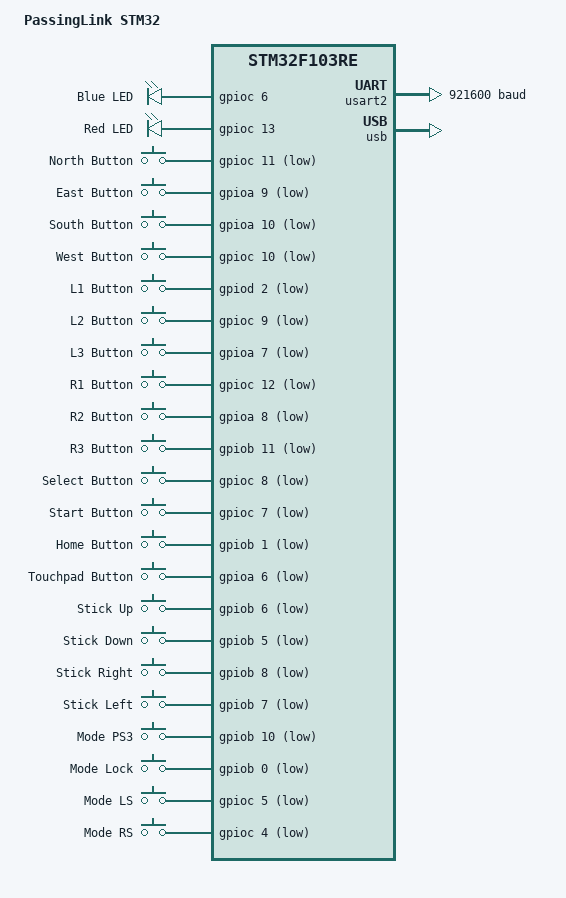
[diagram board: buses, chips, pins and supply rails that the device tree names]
/dts-v1/;
#include <st/f1/stm32f103Xe.dtsi>

/ {
  model = "PassingLink STM32";
  compatible = "st,stm32f103re";

  chosen {
    zephyr,console = &usart2;
    zephyr,shell-uart = &usart2;
    zephyr,sram = &sram0;
    zephyr,flash = &flash0;
  };

  leds {
     // TODO(directxman12): a bit unclear about these -- I *think* c6 is right,
     // not sure about c13
     compatible = "gpio-leds";
     status_blue: led_1 {
       gpios = <&gpioc 6 0>;
       label = "Blue LED";
     };

     status_red: led_2 {
       gpios = <&gpioc 13 0>;
       label = "Red LED";
     };
  };

  // NB(directxman12): these are for the passing link stm32 custom pcb @ a very
  // early revision.  The pin layouts basically only exist in
  // jmgao/passinglink's main.rs (the commit before v0.4) as well as kinda on
  // easyeda.com/jmgao/passinglink, which has the right pins AFAICT (unclear on
  // LEDs), but the layout is a teensy bit different.
  gpio_keys {
    compatible = "gpio-keys";
    button_north {
      gpios = <&gpioc 11 (GPIO_PULL_UP | GPIO_ACTIVE_LOW)>;
      label = "North Button";
    };

    button_east {
      gpios = <&gpioa 9 (GPIO_PULL_UP | GPIO_ACTIVE_LOW)>;
      label = "East Button";
    };

    button_south {
      gpios = <&gpioa 10 (GPIO_PULL_UP | GPIO_ACTIVE_LOW)>;
      label = "South Button";
    };

    button_west {
      gpios = <&gpioc 10 (GPIO_PULL_UP | GPIO_ACTIVE_LOW)>;
      label = "West Button";
    };

    button_l1 {
      gpios = <&gpiod 2 (GPIO_PULL_UP | GPIO_ACTIVE_LOW)>;
      label = "L1 Button";
    };

    button_l2 {
      gpios = <&gpioc 9 (GPIO_PULL_UP | GPIO_ACTIVE_LOW)>;
      label = "L2 Button";
    };

    button_l3 {
      gpios = <&gpioa 7 (GPIO_PULL_UP | GPIO_ACTIVE_LOW)>;
      label = "L3 Button";
    };

    button_r1 {
      gpios = <&gpioc 12 (GPIO_PULL_UP | GPIO_ACTIVE_LOW)>;
      label = "R1 Button";
    };

    button_r2 {
      gpios = <&gpioa 8 (GPIO_PULL_UP | GPIO_ACTIVE_LOW)>;
      label = "R2 Button";
    };

    button_r3 {
      gpios = <&gpiob 11 (GPIO_PULL_UP | GPIO_ACTIVE_LOW)>;
      label = "R3 Button";
    };

    button_select {
      gpios = <&gpioc 8 (GPIO_PULL_UP | GPIO_ACTIVE_LOW)>;
      label = "Select Button";
    };

    button_start {
      gpios = <&gpioc 7 (GPIO_PULL_UP | GPIO_ACTIVE_LOW)>;
      label = "Start Button";
    };

    button_home {
      gpios = <&gpiob 1 (GPIO_PULL_UP | GPIO_ACTIVE_LOW)>;
      label = "Home Button";
    };

    button_touchpad {
      gpios = <&gpioa 6 (GPIO_PULL_UP | GPIO_ACTIVE_LOW)>;
      label = "Touchpad Button";
    };

    stick_up {
      gpios = <&gpiob 6 (GPIO_PULL_UP | GPIO_ACTIVE_LOW)>;
      label = "Stick Up";
    };

    stick_down {
      gpios = <&gpiob 5 (GPIO_PULL_UP | GPIO_ACTIVE_LOW)>;
      label = "Stick Down";
    };

    stick_right {
      gpios = <&gpiob 8 (GPIO_PULL_UP | GPIO_ACTIVE_LOW)>;
      label = "Stick Right";
    };

    stick_left {
      gpios = <&gpiob 7 (GPIO_PULL_UP | GPIO_ACTIVE_LOW)>;
      label = "Stick Left";
    };

    mode_ps3 {
      gpios = <&gpiob 10 (GPIO_PULL_UP | GPIO_ACTIVE_LOW)>;
      label = "Mode PS3";
    };

    mode_lock {
      gpios = <&gpiob 0 (GPIO_PULL_UP | GPIO_ACTIVE_LOW)>;
      label = "Mode Lock";
    };

    mode_ls {
      gpios = <&gpioc 5 (GPIO_PULL_UP | GPIO_ACTIVE_LOW)>;
      label = "Mode LS";
    };

    mode_rs {
      gpios = <&gpioc 4 (GPIO_PULL_UP | GPIO_ACTIVE_LOW)>;
      label = "Mode RS";
    };
  };
};

&usart2 {
  current-speed = <921600>;
  status = "okay";
};

&usb {
  status = "okay";
};
